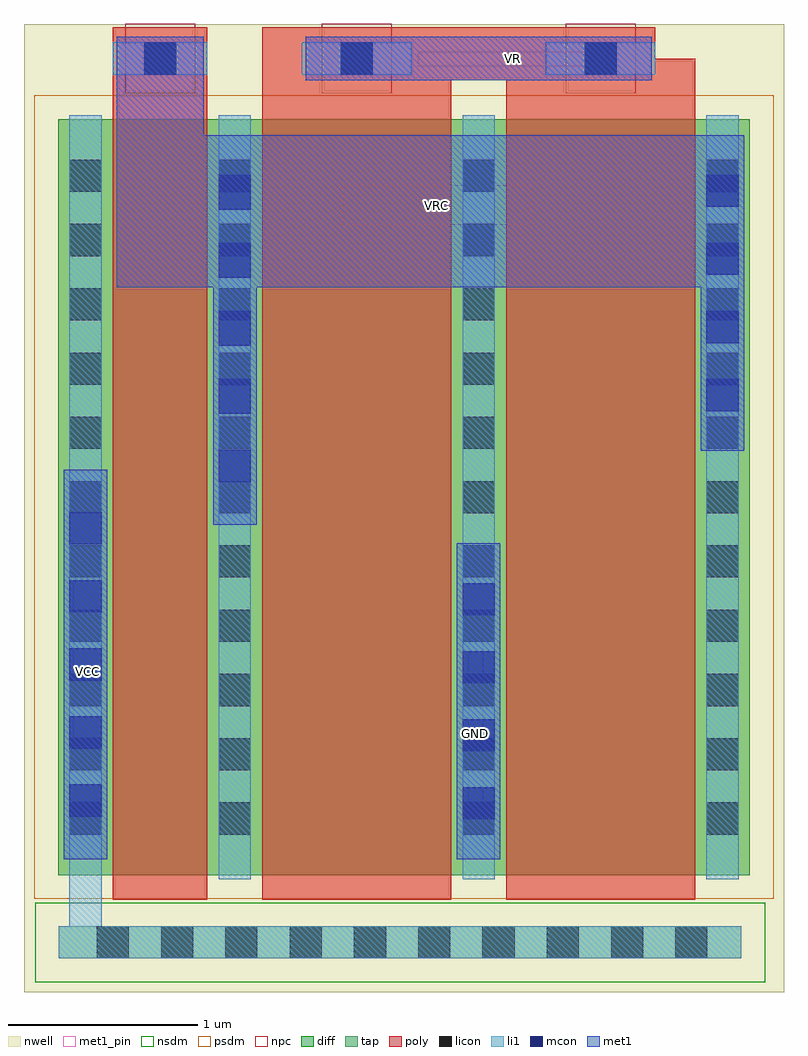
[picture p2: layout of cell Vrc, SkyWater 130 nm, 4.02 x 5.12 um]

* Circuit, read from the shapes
.subckt Vrc GND VCC VR
XM1 sky130_fd_pr__pfet_01v8_KCRXQ4_1/D0 sky130_fd_pr__pfet_01v8_KCRXQ4_1/D0 VCC VCC sky130_fd_pr__pfet_01v8 w=4 l=0.5
XM2 GND VR sky130_fd_pr__pfet_01v8_KCRXQ4_1/D0 VCC sky130_fd_pr__pfet_01v8 w=4 l=1 m=2
.ends

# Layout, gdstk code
import gdstk
lib = gdstk.Library(unit=1e-6, precision=1e-09)
def R(c, l, rs):  # rectangles x0, y0, x1, y1
    for r in rs: c.add(gdstk.rectangle(r[:2], r[2:], *l))
def A(c, l, x, y, w, h, nx, ny, dx, dy):  # array of equal rectangles
    R(c, l, [(x+i*dx, y+j*dy, x+i*dx+w, y+j*dy+h) for i in range(nx) for j in range(ny)])
nwell = (64, 20)
diff = (65, 20)
tap = (65, 44)
poly = (66, 20)
licon = (66, 44)
li1 = (67, 20)
mcon = (67, 44)
met1_pin = (68, 16)
met1 = (68, 20)
nsdm = (93, 44)
psdm = (94, 20)
npc = (95, 20)

sky130_fd_pr__pfet_01v8_ = lib.new_cell('sky130_fd_pr__pfet_01v8_DJZQ8V')
R(sky130_fd_pr__pfet_01v8_, nwell, [(-0.72,-2.49,0.72,2.32)])
R(sky130_fd_pr__pfet_01v8_, diff, [(-0.54,-2.18,0.54,1.82)])
R(sky130_fd_pr__pfet_01v8_, poly, [(-0.25,-2.31,0.25,2.305)])
A(sky130_fd_pr__pfet_01v8_, licon, -0.48, -1.965, 0.17, 0.17, 1, 11, 0, 0.34)
A(sky130_fd_pr__pfet_01v8_, licon, 0.31, -1.965, 0.17, 0.17, 1, 11, 0, 0.34)
R(sky130_fd_pr__pfet_01v8_, licon, [(-0.085,2.055,0.085,2.225)])
R(sky130_fd_pr__pfet_01v8_, li1, [(-0.48,-2.2,-0.31,1.84), (0.31,-2.2,0.48,1.84), (-0.25,2.055,0.25,2.225)])
A(sky130_fd_pr__pfet_01v8_, mcon, -0.48, -1.87, 0.17, 0.17, 1, 5, 0, 0.36)
A(sky130_fd_pr__pfet_01v8_, mcon, 0.31, -0.1, 0.17, 0.17, 1, 5, 0, 0.36)
R(sky130_fd_pr__pfet_01v8_, mcon, [(-0.085,2.055,0.085,2.225)])
R(sky130_fd_pr__pfet_01v8_, met1, [(-0.51,-2.095,-0.28,-0.035), (0.28,-0.325,0.51,1.735), (-0.23,2.025,0.23,2.255)])
R(sky130_fd_pr__pfet_01v8_, psdm, [(-0.665,-2.305,0.665,1.945)])
R(sky130_fd_pr__pfet_01v8_, npc, [(-0.185,1.955,0.185,2.325)])
sky130_fd_pr__pfet_01v8_.add(gdstk.Label('D', (-0.395,-0.18), layer=67, texttype=5))
sky130_fd_pr__pfet_01v8_.add(gdstk.Label('S', (0.395,-0.18), layer=67, texttype=5))
sky130_fd_pr__pfet_01v8_.add(gdstk.Label('G', (0,2.14), layer=67, texttype=5))

c_sky130_fd_pr__pfet_01v8_ = lib.new_cell('sky130_fd_pr__pfet_01v8_KCRXQ4')
R(c_sky130_fd_pr__pfet_01v8_, nwell, [(-1.615,-2.49,1.615,2.32)])
R(c_sky130_fd_pr__pfet_01v8_, diff, [(-1.435,-2.18,1.435,1.82)])
R(c_sky130_fd_pr__pfet_01v8_, poly, [(-1.145,-2.31,-0.145,2.14), (0.145,-2.31,1.145,2.14), (-0.935,2.14,-0.355,2.305), (0.355,2.14,0.935,2.305)])
A(c_sky130_fd_pr__pfet_01v8_, licon, -1.375, -1.965, 0.17, 0.17, 3, 11, 1.29, 0.34)
R(c_sky130_fd_pr__pfet_01v8_, licon, [(-0.73,2.055,-0.56,2.225), (0.56,2.055,0.73,2.225)])
A(c_sky130_fd_pr__pfet_01v8_, li1, -1.375, -2.2, 0.17, 4.04, 3, 1, 1.29, 0)
R(c_sky130_fd_pr__pfet_01v8_, li1, [(-0.935,2.055,-0.355,2.225), (0.355,2.055,0.935,2.225)])
A(c_sky130_fd_pr__pfet_01v8_, mcon, -0.085, -1.885, 0.17, 0.17, 1, 4, 0, 0.36)
A(c_sky130_fd_pr__pfet_01v8_, mcon, -1.375, 0.275, 0.17, 0.17, 1, 4, 0, 0.36)
A(c_sky130_fd_pr__pfet_01v8_, mcon, 1.205, 0.275, 0.17, 0.17, 1, 4, 0, 0.36)
R(c_sky130_fd_pr__pfet_01v8_, mcon, [(-0.73,2.055,-0.56,2.225), (0.56,2.055,0.73,2.225)])
R(c_sky130_fd_pr__pfet_01v8_, met1, [(-0.115,-2.095,0.115,-0.425), (-1.405,0.065,-1.175,1.735), (1.175,0.065,1.405,1.735), (-0.915,2.025,-0.375,2.255), (0.375,2.025,0.915,2.255)])
R(c_sky130_fd_pr__pfet_01v8_, psdm, [(-1.56,-2.305,1.56,1.945)])
R(c_sky130_fd_pr__pfet_01v8_, npc, [(-0.83,1.955,-0.46,2.325), (0.46,1.955,0.83,2.325)])
c_sky130_fd_pr__pfet_01v8_.add(gdstk.Label('D0', (-1.29,-0.18), layer=67, texttype=5))
c_sky130_fd_pr__pfet_01v8_.add(gdstk.Label('G0', (-0.645,2.14), layer=67, texttype=5))
c_sky130_fd_pr__pfet_01v8_.add(gdstk.Label('S1', (0,-0.18), layer=67, texttype=5))
c_sky130_fd_pr__pfet_01v8_.add(gdstk.Label('G1', (0.645,2.14), layer=67, texttype=5))

vrc = lib.new_cell('Vrc')
R(vrc, nwell, [(6.22,-5.38,10.24,-4.95), (6.46,-4.95,6.63,-4.765), (6.705,-1.045,7.165,-0.53), (7.705,-0.555,9.03,-0.525), (7.475,-0.525,9.555,-0.275)])
R(vrc, tap, [(6.405,-5.2,10.015,-5.03)])
R(vrc, poly, [(6.71,-1.045,7.17,-0.53), (7.71,-0.555,9.035,-0.525), (7.48,-0.525,9.56,-0.275)])
A(vrc, licon, 6.605, -5.2, 0.17, 0.17, 10, 1, 0.34, 0)
R(vrc, li1, [(6.405,-5.2,10.015,-5.03), (6.46,-5.03,6.63,-4.765)])
R(vrc, met1_pin, [(8.57,-4.51,8.65,-3.51), (6.48,-4.18,6.63,-3.18), (7.9,-1.32,8.9,-1.11), (8.305,-0.48,9.305,-0.405)])
R(vrc, met1, [(8.57,-4.51,8.65,-3.51), (6.48,-4.18,6.63,-3.18), (6.71,-1.65,9.815,-0.845), (6.71,-0.845,7.17,-0.53), (7.71,-0.555,9.035,-0.48), (7.71,-0.48,9.305,-0.405), (7.71,-0.405,9.035,-0.325)])
R(vrc, nsdm, [(6.28,-5.325,10.14,-4.905)])
vrc.add(gdstk.Reference(sky130_fd_pr__pfet_01v8_, (6.94,-2.58)))
vrc.add(gdstk.Reference(c_sky130_fd_pr__pfet_01v8_, (8.625,-2.58)))
vrc.add(gdstk.Label('VR', (8.805,-0.442), layer=68, texttype=5))
vrc.add(gdstk.Label('VRC', (8.4,-1.215), layer=68, texttype=5))
vrc.add(gdstk.Label('VCC', (6.555,-3.68), layer=68, texttype=5))
vrc.add(gdstk.Label('GND', (8.61,-4.01), layer=68, texttype=5))

lib.write_gds('Vrc.gds')
